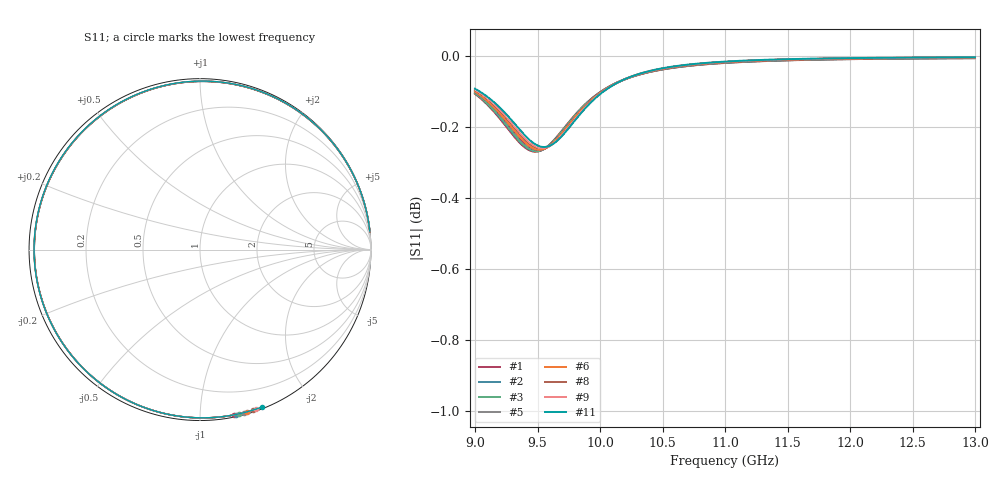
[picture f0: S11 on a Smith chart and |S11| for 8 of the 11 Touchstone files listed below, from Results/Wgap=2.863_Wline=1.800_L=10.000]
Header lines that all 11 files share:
! TOUCHSTONE file generated by CST DESIGN STUDIO
! Project name: C:\Work\MatlabApps\UnitCellOptimizationMatlab\CST\unitcell.cst
! Tree item: Tasks\Sweep1\SPara1\S-Parameters
! Header version: 2024
! Port assignment regex: !\s*Touchstone port\s*([0-9]+)\s*=\s*(CST MWS port|CST DES external port|CST DES block port)\s*(.+)\s* \(\"(.*)\"\)(\s*mode\s*([0-9]+))?.*
! Touchstone port assignment:
! Touchstone port 1 = CST DES external port 1 ("")
# GHz S MA R 50
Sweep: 9 GHz to 13 GHz
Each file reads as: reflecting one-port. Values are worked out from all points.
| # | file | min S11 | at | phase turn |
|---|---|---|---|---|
| 1 | DS_for_MWS-run-0001.s1p | -0.3 dB | 9.484 GHz | -276 deg |
| 2 | DS_for_MWS-run-0002.s1p | -0.3 dB | 9.49 GHz | -277 deg |
| 3 | DS_for_MWS-run-0003.s1p | -0.3 dB | 9.496 GHz | -277 deg |
| 4 | DS_for_MWS-run-0004.s1p | -0.3 dB | 9.502 GHz | -278 deg |
| 5 | DS_for_MWS-run-0005.s1p | -0.3 dB | 9.509 GHz | -279 deg |
| 6 | DS_for_MWS-run-0006.s1p | -0.3 dB | 9.516 GHz | -280 deg |
| 7 | DS_for_MWS-run-0007.s1p | -0.3 dB | 9.523 GHz | -281 deg |
| 8 | DS_for_MWS-run-0008.s1p | -0.3 dB | 9.53 GHz | -282 deg |
| 9 | DS_for_MWS-run-0009.s1p | -0.3 dB | 9.537 GHz | -283 deg |
| 10 | DS_for_MWS-run-0010.s1p | -0.3 dB | 9.544 GHz | -284 deg |
| 11 | DS_for_MWS-run-0011.s1p | -0.3 dB | 9.552 GHz | -285 deg |
